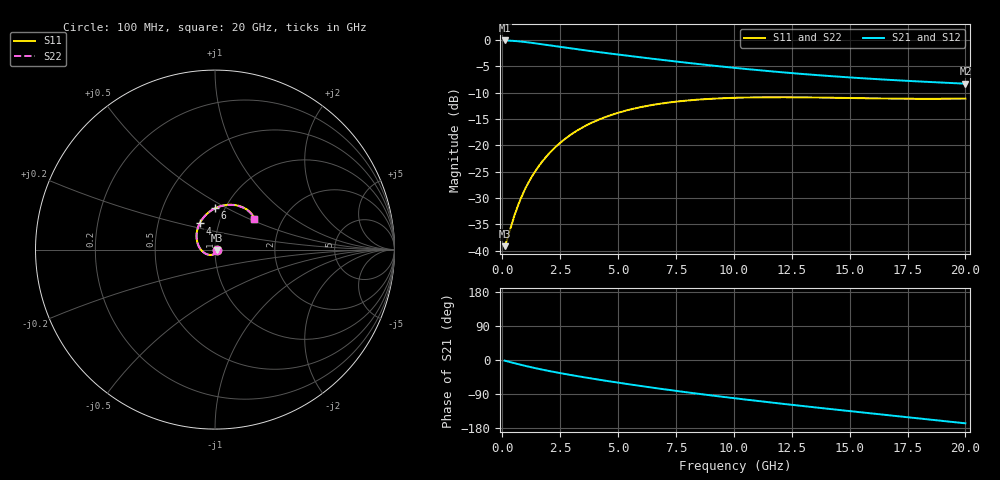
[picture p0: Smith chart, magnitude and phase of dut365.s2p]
! Touchstone file exported from HFSS 2024.1.0
!  File:  C:/UserFiles/LocalFiles/RDL_TSV_Batchsim/temp_RDL_TSV_365_1779641250.aedt
!  Generated:  01:03:37 AM May 25, 2026
!  Design:  RDL_TSV
!  Project:  temp_RDL_TSV_365_1779641250
!  Setup:  Setup1
!  Solution:  Sweep
! Variables:
!  dtsv = 11.59um
!  hbump = 3um
!  htsv = 91.73um
!  ldown = 196.45um
!  lrdl = 359.48um
!  p = 40
!  p1 = 50.24um
!  rhole = 10um
!  subl = 2027.27um
!  t = 450um
!  tdown = 3.12um
!  trdl = 3.78um
!  viad = 10um
!  wdown = 17.28um
!  wrdl = 23.17um
!  xbump = 18um
# GHz S MA R 50.000000
! Terminal data exported
! Port[1] = TM1_1_T1
! Port[2] = TM1_4_T1
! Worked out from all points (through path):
!   200 points, 100 MHz to 20 GHz, reference 50 ohm
!   highest |S21| = -0.10 dB at 100 MHz (marker M1); lowest = -8.3 dB at 20 GHz (marker M2)
!   group delay of S21, straight-line fit = 21.7 ps
!   lowest |S11| = -39.2 dB at 100 MHz (marker M3), VSWR 1.02, Z = 51 - j0.424 ohm
!   |S11| at or under -10 dB: start of sweep to end of sweep
!   |S22| runs from -39.2 to -10.9 dB; largest |S21 - S12| = 1.4e-14
!   S11 on the Smith chart (normalised r, x): 100 MHz: 1.02, -0.01; 4 GHz: 0.81, +0.24; 6 GHz: 0.90, +0.44; 20 GHz: 1.45, +0.53
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0.1  0.01101 -22.1  0.989 -1.7  0.989 -1.7  0.01102 -22.1
! Gamma 0 0 0 0
! Port Impedance 50 0 50 0
0.2  0.01258 -42.2  0.9874 -3.3  0.9874 -3.3  0.01258 -42.1
0.6  0.02404 -96.7  0.975 -9.6  0.975 -9.6  0.02405 -96.6
0.8  0.03122 -114.9  0.9659 -12.7  0.9659 -12.7  0.03123 -114.8
1.1  0.043 -136.9  0.9494 -17.0  0.9494 -17.0  0.04298 -136.7
1.4  0.05567 -154.9  0.9307 -21.2  0.9307 -21.2  0.05561 -154.7
1.8  0.07348 -174.7  0.9043 -26.4  0.9043 -26.4  0.07335 -174.5
2.3  0.09636 165.4  0.8716 -32.3  0.8716 -32.3  0.09612 165.5
2.9  0.1235 146.4  0.8348 -39.0  0.8348 -39.0  0.1231 146.5
3.5  0.1491 131.2  0.801 -45.2  0.801 -45.2  0.1486 131.3
4  0.1689 120.6  0.7748 -50.2  0.7748 -50.2  0.1683 120.7
4.9  0.2002 104.8  0.7313 -58.8  0.7313 -58.8  0.1994 104.9
6  0.2307 89.8  0.6829 -68.8  0.6829 -68.8  0.2297 89.8
6.8  0.2478 80.9  0.6505 -75.7  0.6505 -75.7  0.2467 80.9
8.4  0.2707 66.9  0.5928 -88.6  0.5928 -88.6  0.2695 66.9
10.1  0.2826 56.0  0.5413 -101.4  0.5413 -101.4  0.2813 56.0
11.7  0.2859 48.6  0.5015 -112.8  0.5015 -112.8  0.2845 48.6
13.4  0.2845 43.2  0.467 -124.3  0.467 -124.3  0.2831 43.2
15  0.281 39.9  0.4407 -134.9  0.4407 -134.9  0.2796 39.9
16.7  0.2775 38.0  0.418 -145.9  0.418 -145.9  0.2761 38.0
18.3  0.276 37.4  0.4003 -156.2  0.4003 -156.2  0.2747 37.4
20  0.2778 37.7  0.3846 -167.1  0.3846 -167.1  0.2765 37.6
